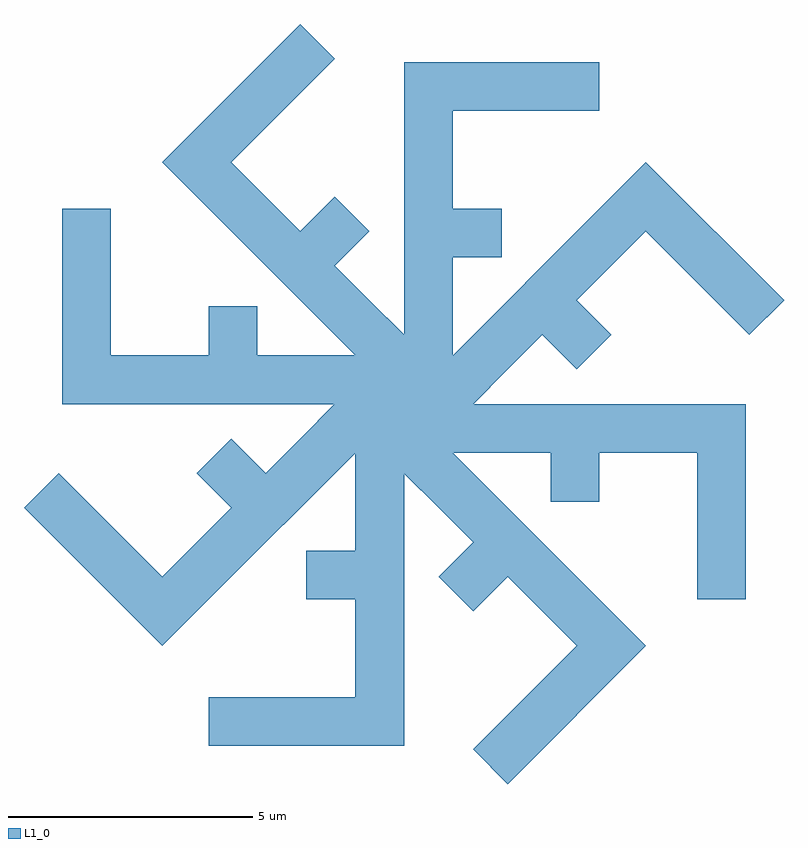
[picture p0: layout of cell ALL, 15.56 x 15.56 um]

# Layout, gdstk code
from math import pi, radians
import gdstk
lib = gdstk.Library(unit=1e-6, precision=1e-09)
def P(c, l, *ps):  # polygons
    for p in ps: c.add(gdstk.Polygon(p, *l))
L1_0 = (1, 0)

c_f = lib.new_cell('F')
P(c_f, L1_0, [(0,0),(0,7),(4,7),(4,6),(1,6),(1,4),(2,4),(2,3),(1,3),(1,0)])

all = lib.new_cell('ALL')
all.add(gdstk.Reference(c_f, (0,0)))
all.add(gdstk.Reference(c_f, (0,0), rotation=radians(45)))
all.add(gdstk.Reference(c_f, (0,0), rotation=pi/2))
all.add(gdstk.Reference(c_f, (0,0), rotation=radians(135)))
all.add(gdstk.Reference(c_f, (0,0), rotation=pi))
all.add(gdstk.Reference(c_f, (0,0), rotation=radians(225)))
all.add(gdstk.Reference(c_f, (0,0), rotation=3*pi/2))
all.add(gdstk.Reference(c_f, (0,0), rotation=radians(315)))

lib.write_gds('ALL.gds')
